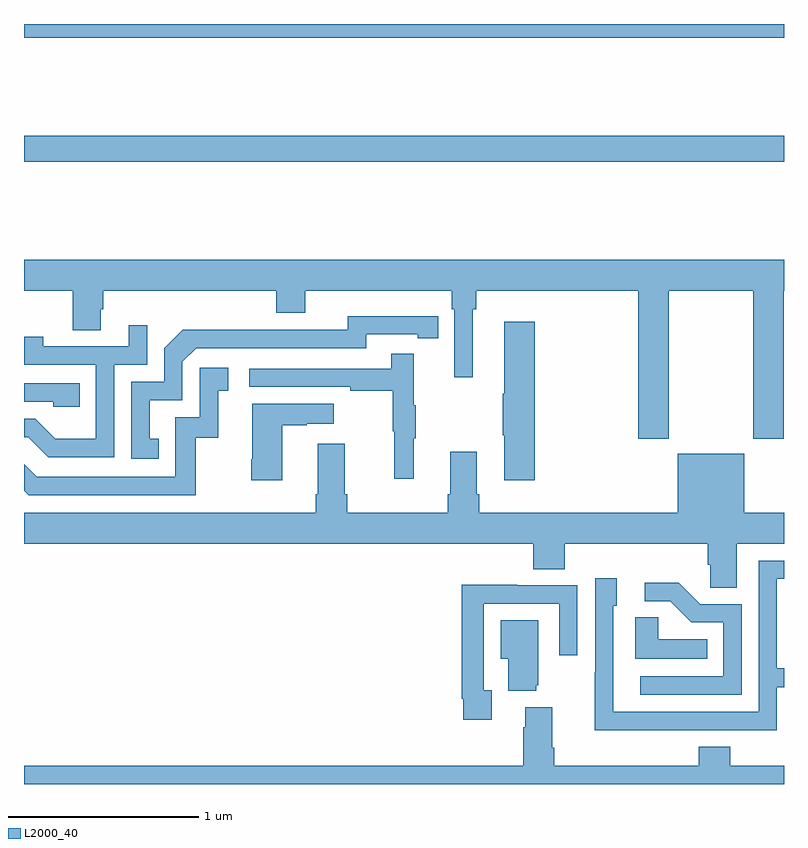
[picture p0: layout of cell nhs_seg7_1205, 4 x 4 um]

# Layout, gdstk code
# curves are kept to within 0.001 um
import gdstk
lib = gdstk.Library(unit=1e-6, precision=1e-09)
def R(c, l, rs):  # rectangles x0, y0, x1, y1
    for r in rs: c.add(gdstk.rectangle(r[:2], r[2:], *l))
def P(c, l, *ps):  # polygons
    for p in ps: c.add(gdstk.Polygon(p, *l))
L2000_40 = (2000, 40)

nhs_seg7_1205 = lib.new_cell('nhs_seg7_1205')
R(nhs_seg7_1205, L2000_40, [(195,1021.276,199,1021.412), (195,1021.928,199,1022)])
P(nhs_seg7_1205, L2000_40, [(198.393,1020.596),(198.838,1020.596),(198.838,1019.817),(198.998,1019.817),(198.998,1020.596),(199,1020.596),(199,1020.76),(195,1020.76),(195,1020.596),(195.256,1020.596),(195.256,1020.388),(195.403,1020.388),(195.403,1020.498),(195.416,1020.498),(195.416,1020.596),(196.328,1020.596),(196.328,1020.479),(196.48,1020.479),(196.48,1020.596),(197.252,1020.596),(197.252,1020.5),(197.265,1020.5),(197.265,1020.141),(197.362,1020.141),(197.362,1020.5),(197.381,1020.5),(197.381,1020.596),(198.233,1020.596),(198.233,1019.817),(198.393,1019.817)],
  [(195.71,1019.817),(195.661,1019.817),(195.661,1020.021),(195.834,1020.021),(195.834,1020.222),(195.906,1020.294),(196.8,1020.294),(196.8,1020.366),(197.072,1020.366),(197.072,1020.346),(197.18,1020.346),(197.18,1020.462),(196.704,1020.463),(196.704,1020.39),(196.244,1020.39),(196.244,1020.392),(195.836,1020.392),(195.738,1020.294),(195.738,1020.117),(195.564,1020.117),(195.564,1019.712),(195.71,1019.712)],
  [(197.687,1020.433),(197.528,1020.433),(197.528,1020.053),(197.521,1020.053),(197.521,1019.836),(197.528,1019.836),(197.528,1019.598),(197.687,1019.598)],
  [(195.474,1020.207),(195.648,1020.207),(195.648,1020.415),(195.551,1020.415),(195.551,1020.303),(195.1,1020.303),(195.1,1020.355),(195,1020.355),(195,1020.207),(195.378,1020.207),(195.378,1019.818),(195.164,1019.818),(195.06,1019.922),(195,1019.922),(195,1019.826),(195.023,1019.826),(195.128,1019.721),(195.474,1019.721)],
  [(197.051,1019.819),(197.062,1019.819),(197.062,1019.993),(197.051,1019.993),(197.051,1020.265),(196.933,1020.265),(196.933,1020.186),(196.185,1020.186),(196.185,1020.09),(196.717,1020.09),(196.717,1020.07),(196.941,1020.07),(196.941,1019.856),(196.948,1019.856),(196.948,1019.607),(197.051,1019.607)],
  [(195.904,1019.823),(196.022,1019.823),(196.022,1020.069),(196.075,1020.069),(196.075,1020.19),(195.924,1020.19),(195.924,1019.931),(195.795,1019.931),(195.795,1019.616),(195.066,1019.616),(195,1019.682),(195,1019.544),(195.024,1019.52),(195.904,1019.52)],
  [(195.293,1020.108),(195,1020.108),(195,1020.012),(195.153,1020.012),(195.153,1019.985),(195.293,1019.985)],
  [(196.36,1019.887),(196.487,1019.887),(196.487,1019.897),(196.63,1019.897),(196.63,1020.001),(196.202,1020.001),(196.202,1019.71),(196.195,1019.71),(196.195,1019.598),(196.36,1019.598)],
  [(198.751,1019.264),(199,1019.264),(199,1019.428),(198.79,1019.428),(198.79,1019.737),(198.44,1019.737),(198.44,1019.428),(197.396,1019.428),(197.396,1019.524),(197.383,1019.524),(197.383,1019.749),(197.243,1019.749),(197.243,1019.524),(197.231,1019.524),(197.231,1019.428),(196.7,1019.428),(196.7,1019.524),(196.687,1019.524),(196.687,1019.791),(196.547,1019.791),(196.547,1019.524),(196.535,1019.524),(196.535,1019.428),(195,1019.428),(195,1019.264),(197.681,1019.264),(197.681,1019.131),(197.846,1019.131),(197.846,1019.264),(198.599,1019.264),(198.599,1019.155),(198.612,1019.155),(198.612,1019.032),(198.751,1019.032)],
  [(198.467,1018.284),(198.963,1018.284),(198.963,1018.509),(199,1018.509),(199,1018.61),(198.963,1018.61),(198.963,1019.079),(199,1019.079),(199,1019.175),(198.867,1019.175),(198.867,1018.38),(198.102,1018.38),(198.102,1018.938),(198.121,1018.938),(198.121,1019.083),(198.006,1019.083),(198.006,1018.589),(198.004,1018.589),(198.004,1018.283),(198.467,1018.283)],
  [(198.777,1018.947),(198.558,1018.947),(198.445,1019.06),(198.267,1019.06),(198.267,1018.962),(198.401,1018.962),(198.512,1018.851),(198.681,1018.851),(198.681,1018.566),(198.243,1018.566),(198.243,1018.47),(198.777,1018.47)],
  [(197.461,1018.494),(197.421,1018.494),(197.421,1018.95),(197.817,1018.95),(197.817,1018.677),(197.913,1018.677),(197.913,1019.046),(197.597,1019.046),(197.597,1019.048),(197.305,1019.048),(197.305,1018.45),(197.313,1018.45),(197.313,1018.338),(197.461,1018.338)],
  [(198.596,1018.762),(198.339,1018.762),(198.339,1018.877),(198.218,1018.877),(198.218,1018.658),(198.596,1018.658)],
  [(197.696,1018.521),(197.707,1018.521),(197.707,1018.861),(197.51,1018.861),(197.51,1018.658),(197.549,1018.658),(197.549,1018.49),(197.696,1018.49)],
  [(199,1018.096),(198.716,1018.096),(198.716,1018.195),(198.551,1018.195),(198.551,1018.096),(197.792,1018.096),(197.792,1018.192),(197.779,1018.192),(197.779,1018.405),(197.639,1018.405),(197.639,1018.298),(197.627,1018.298),(197.627,1018.096),(195,1018.096),(195,1018),(199,1018)])

lib.write_gds('nhs_seg7_1205.gds')
